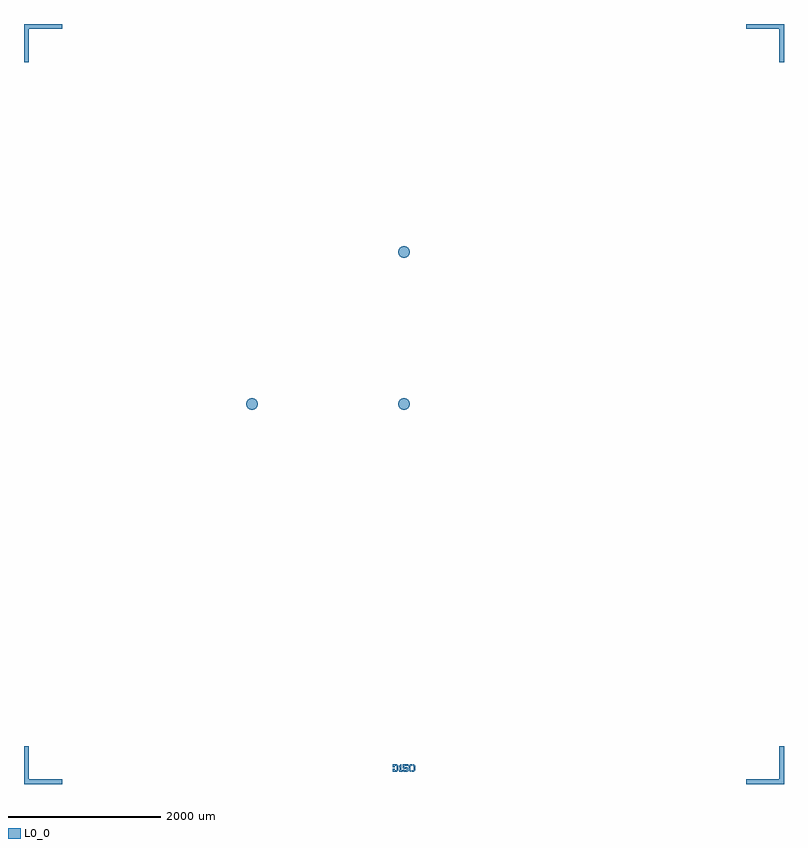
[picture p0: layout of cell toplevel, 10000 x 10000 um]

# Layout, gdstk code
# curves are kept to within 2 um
import gdstk
lib = gdstk.Library(unit=1e-6, precision=1e-09)
def P(c, l, *ps):  # polygons
    for p in ps: c.add(gdstk.Polygon(p, *l))
L0_0 = (0, 0)

circle = lib.new_cell('circle')
P(circle, L0_0, [(75,0),(69.291,28.701),(53.033,53.033),(28.701,69.291),(0,75),(-28.701,69.291),(-53.033,53.033),(-69.291,28.701),(-75,0),(-69.291,-28.701),(-53.033,-53.033),(-28.701,-69.291),(0,-75),(28.701,-69.291),(53.033,-53.033),(69.291,-28.701)])

circle001 = lib.new_cell('circle001')
P(circle001, L0_0, [(-1925,0),(-1930.709,28.701),(-1946.967,53.033),(-1971.299,69.291),(-2000,75),(-2028.701,69.291),(-2053.033,53.033),(-2069.291,28.701),(-2075,0),(-2069.291,-28.701),(-2053.033,-53.033),(-2028.701,-69.291),(-2000,-75),(-1971.299,-69.291),(-1946.967,-53.033),(-1930.709,-28.701)])

circle002 = lib.new_cell('circle002')
P(circle002, L0_0, [(75,2000),(69.291,2028.701),(53.033,2053.033),(28.701,2069.291),(0,2075),(-28.701,2069.291),(-53.033,2053.033),(-69.291,2028.701),(-75,2000),(-69.291,1971.299),(-53.033,1946.967),(-28.701,1930.709),(0,1925),(28.701,1930.709),(53.033,1946.967),(69.291,1971.299)])

text = lib.new_cell('text')
P(text, L0_0, [(10,0),(10,40),(30,40),(30,20),(50,20),(60,30),(60,70),(50,80),(30,80),(30,60),(10,60),(10,100),(60,100),(80,80),(80,20),(60,0)],
  [(100,60),(90,60),(90,80),(110,100),(120,100),(120,20),(130,20),(130,0),(90,0),(90,20),(100,20)],
  [(210,80),(160,80),(160,60),(200,60),(210,50),(210,10),(200,0),(150,0),(140,10),(140,30),(160,30),(160,20),(190,20),(190,40),(150,40),(140,50),(140,100),(210,100)],
  [(250,80),(240,70),(240,30),(250,20),(245,0),(240,0),(220,20),(220,80),(240,100),(263,100),(258,80),(250,80)],
  [(270,20),(280,30),(280,70),(270,80),(275,100),(280,100),(300,80),(300,20),(280,0),(257,0),(262,20),(270,20)])

die = lib.new_cell('die')
P(die, L0_0, [(5000,5000),(5000,4500),(4940,4500),(4940,4940),(4500,4940),(4500,5000)],
  [(-5000,5000),(-5000,4500),(-4940,4500),(-4940,4940),(-4500,4940),(-4500,5000)],
  [(5000,-5000),(5000,-4500),(4940,-4500),(4940,-4940),(4500,-4940),(4500,-5000)],
  [(-5000,-5000),(-5000,-4500),(-4940,-4500),(-4940,-4940),(-4500,-4940),(-4500,-5000)])
die.add(gdstk.Reference(text, (-155,-4840)))

toplevel = lib.new_cell('toplevel')
toplevel.add(gdstk.Reference(circle, (0,0)))
toplevel.add(gdstk.Reference(circle001, (0,0)))
toplevel.add(gdstk.Reference(circle002, (0,0)))
toplevel.add(gdstk.Reference(die, (0,0)))

lib.write_gds('toplevel.gds')
